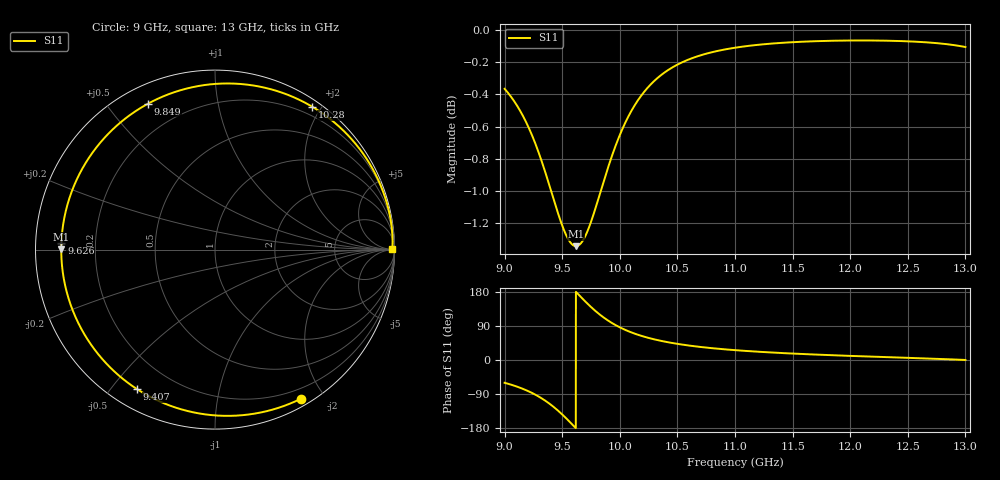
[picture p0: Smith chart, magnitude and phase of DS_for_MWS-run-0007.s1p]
! TOUCHSTONE file generated by CST DESIGN STUDIO
! Date and time: Tue Feb  4 16:05:16 2025
! Project name: C:\Work\MatlabApps\UnitCellOptimizationMatlab\CST\unitcell.cst
! Tree item: Tasks\Sweep1\SPara1\S-Parameters
! Header version: 2024
! Port assignment regex: !\s*Touchstone port\s*([0-9]+)\s*=\s*(CST MWS port|CST DES external port|CST DES block port)\s*(.+)\s* \(\"(.*)\"\)(\s*mode\s*([0-9]+))?.*
! Touchstone port assignment:
! Touchstone port 1 = CST DES external port 1 ("")
# GHz S MA R 50
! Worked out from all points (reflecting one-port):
!   4001 points, 9 GHz to 13 GHz, reference 50 ohm
!   lowest |S11| = -1.3 dB at 9.619 GHz (marker M1), VSWR 12.96, Z = 3.86 + j0.0769 ohm
!   phase of S11 starts at -60 deg and turns -300 deg over the sweep
!   S11 on the Smith chart (normalised r, x): 9 GHz: 0.08, -1.72; 9.407 GHz: 0.08, -0.58; 9.626 GHz: 0.08, +0.02; 9.849 GHz: 0.08, +0.64; 10.28 GHz: 0.09, +1.89; 13 GHz: open
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9  0.9588 -60.1
9.054  0.9535 -64.9
9.126  0.945 -72.3
9.251  0.925 -89.0
9.334  0.9076 -103.6
9.407  0.8904 -119.3
9.454  0.8793 -131.0
9.5  0.8695 -143.7
9.562  0.8599 -162.2
9.619  0.8567 179.8
9.626  0.8567 177.6
9.682  0.8605 160.0
9.745  0.8707 141.3
9.797  0.8822 127.2
9.849  0.8947 114.6
9.919  0.911 100.0
10  0.9276 86.2
10.065  0.9386 77.1
10.133  0.948 69.1
10.282  0.9629 55.7
10.384  0.9698 48.9
10.5  0.9755 42.6
10.72  0.9825 33.7
11  0.9874 26.0
11.5  0.9913 17.0
12  0.9925 10.9
12.5  0.992 5.7
13  0.9879 0.1
